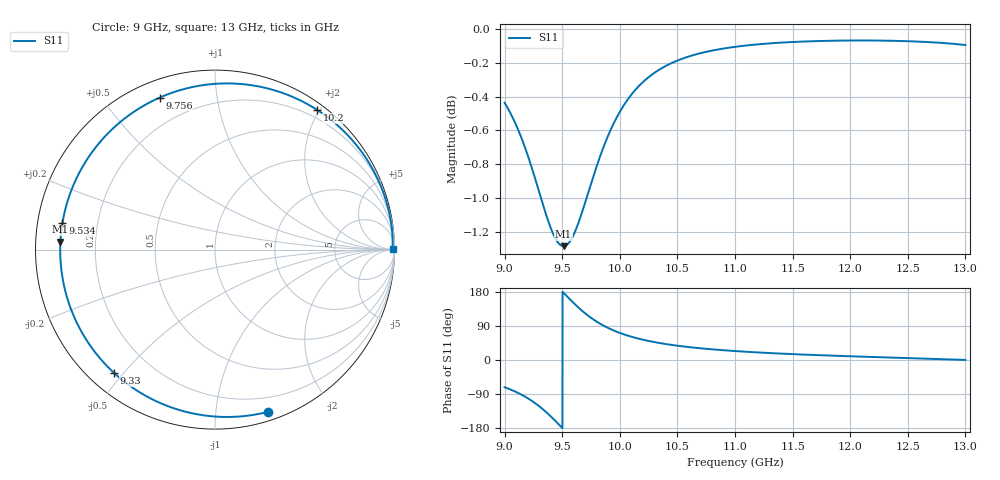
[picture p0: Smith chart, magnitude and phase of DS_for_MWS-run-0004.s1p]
! TOUCHSTONE file generated by CST DESIGN STUDIO
! Date and time: Tue Feb  4 14:00:13 2025
! Project name: C:\Work\MatlabApps\UnitCellOptimizationMatlab\CST\unitcell.cst
! Tree item: Tasks\Sweep1\SPara1\S-Parameters
! Header version: 2024
! Port assignment regex: !\s*Touchstone port\s*([0-9]+)\s*=\s*(CST MWS port|CST DES external port|CST DES block port)\s*(.+)\s* \(\"(.*)\"\)(\s*mode\s*([0-9]+))?.*
! Touchstone port assignment:
! Touchstone port 1 = CST DES external port 1 ("")
# GHz S MA R 50
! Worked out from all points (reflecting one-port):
!   4001 points, 9 GHz to 13 GHz, reference 50 ohm
!   lowest |S11| = -1.3 dB at 9.512 GHz (marker M1), VSWR 13.53, Z = 3.7 + j1.26 ohm
!   phase of S11 starts at -72 deg and turns -288 deg over the sweep
!   S11 on the Smith chart (normalised r, x): 9 GHz: 0.07, -1.38; 9.33 GHz: 0.07, -0.47; 9.534 GHz: 0.07, +0.09; 9.756 GHz: 0.08, +0.70; 10.2 GHz: 0.09, +1.97; 13 GHz: open
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9  0.951 -71.9
9.088  0.9386 -82.8
9.191  0.9196 -99.1
9.263  0.9035 -113.5
9.33  0.8879 -129.4
9.375  0.878 -141.4
9.423  0.8694 -155.3
9.462  0.8647 -167.2
9.5  0.8625 -179.1
9.512  0.8624 177.1
9.534  0.8629 170.2
9.588  0.8676 153.6
9.649  0.8778 136.1
9.702  0.8891 122.4
9.756  0.9012 110.1
9.806  0.9121 100.0
9.861  0.9231 90.4
10  0.9451 71.5
10.094  0.9557 62.0
10.198  0.9643 53.7
10.337  0.9724 45.2
10.5  0.9788 37.7
10.722  0.9841 30.3
11  0.988 23.6
11.5  0.9912 15.5
12  0.9923 9.8
12.5  0.9918 5.0
13  0.9892 0.2
